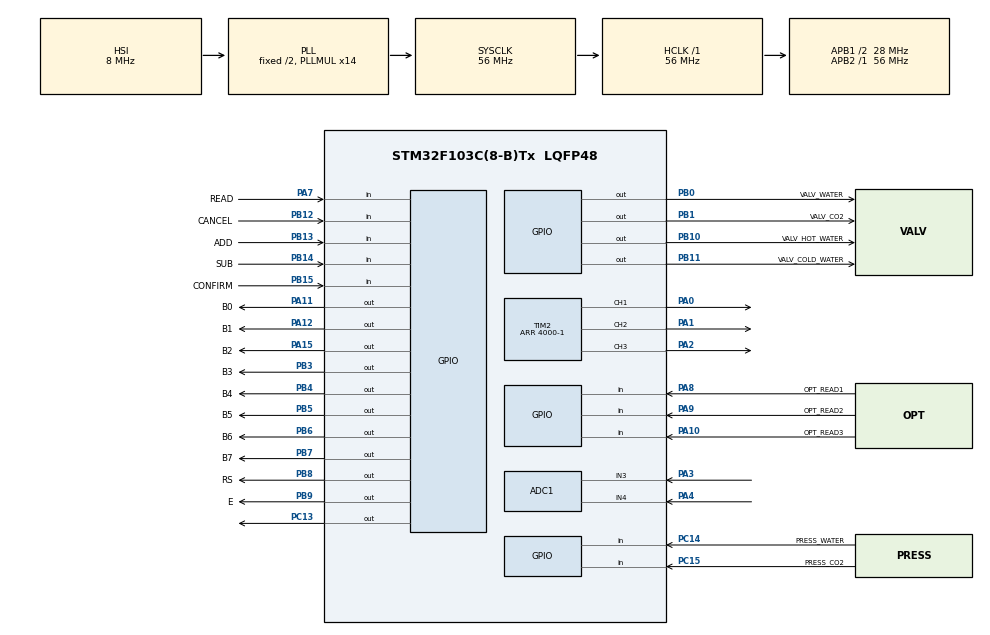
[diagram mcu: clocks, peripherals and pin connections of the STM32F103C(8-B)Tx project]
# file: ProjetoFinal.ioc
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ADC1.Channel-10\#ChannelRegularConversion=ADC_CHANNEL_4
ADC1.Channel-11\#ChannelRegularConversion=ADC_CHANNEL_4
ADC1.Channel-12\#ChannelRegularConversion=ADC_CHANNEL_4
ADC1.Channel-13\#ChannelRegularConversion=ADC_CHANNEL_4
ADC1.Channel-14\#ChannelRegularConversion=ADC_CHANNEL_4
ADC1.Channel-15\#ChannelRegularConversion=ADC_CHANNEL_4
ADC1.Channel-16\#ChannelRegularConversion=ADC_CHANNEL_4
ADC1.Channel-17\#ChannelRegularConversion=ADC_CHANNEL_4
ADC1.Channel-2\#ChannelRegularConversion=ADC_CHANNEL_3
ADC1.Channel-3\#ChannelRegularConversion=ADC_CHANNEL_3
ADC1.Channel-4\#ChannelRegularConversion=ADC_CHANNEL_3
ADC1.Channel-5\#ChannelRegularConversion=ADC_CHANNEL_3
ADC1.Channel-6\#ChannelRegularConversion=ADC_CHANNEL_3
ADC1.Channel-7\#ChannelRegularConversion=ADC_CHANNEL_3
ADC1.Channel-8\#ChannelRegularConversion=ADC_CHANNEL_3
ADC1.Channel-9\#ChannelRegularConversion=ADC_CHANNEL_3
ADC1.NbrOfConversion=16
ADC1.NbrOfConversionFlag=1
ADC1.Rank-10\#ChannelRegularConversion=9
ADC1.Rank-11\#ChannelRegularConversion=10
ADC1.Rank-12\#ChannelRegularConversion=11
ADC1.Rank-13\#ChannelRegularConversion=12
ADC1.Rank-14\#ChannelRegularConversion=13
ADC1.Rank-15\#ChannelRegularConversion=14
ADC1.Rank-16\#ChannelRegularConversion=15
ADC1.Rank-17\#ChannelRegularConversion=16
ADC1.Rank-2\#ChannelRegularConversion=1
ADC1.Rank-3\#ChannelRegularConversion=2
ADC1.Rank-4\#ChannelRegularConversion=3
ADC1.Rank-5\#ChannelRegularConversion=4
ADC1.Rank-6\#ChannelRegularConversion=5
ADC1.Rank-7\#ChannelRegularConversion=6
ADC1.Rank-8\#ChannelRegularConversion=7
ADC1.Rank-9\#ChannelRegularConversion=8
ADC1.SamplingTime-10\#ChannelRegularConversion=ADC_SAMPLETIME_1CYCLE_5
ADC1.SamplingTime-11\#ChannelRegularConversion=ADC_SAMPLETIME_1CYCLE_5
ADC1.SamplingTime-12\#ChannelRegularConversion=ADC_SAMPLETIME_1CYCLE_5
ADC1.SamplingTime-13\#ChannelRegularConversion=ADC_SAMPLETIME_1CYCLE_5
ADC1.SamplingTime-14\#ChannelRegularConversion=ADC_SAMPLETIME_1CYCLE_5
ADC1.SamplingTime-15\#ChannelRegularConversion=ADC_SAMPLETIME_1CYCLE_5
ADC1.SamplingTime-16\#ChannelRegularConversion=ADC_SAMPLETIME_1CYCLE_5
ADC1.SamplingTime-17\#ChannelRegularConversion=ADC_SAMPLETIME_1CYCLE_5
ADC1.SamplingTime-2\#ChannelRegularConversion=ADC_SAMPLETIME_1CYCLE_5
ADC1.SamplingTime-3\#ChannelRegularConversion=ADC_SAMPLETIME_1CYCLE_5
ADC1.SamplingTime-4\#ChannelRegularConversion=ADC_SAMPLETIME_1CYCLE_5
ADC1.SamplingTime-5\#ChannelRegularConversion=ADC_SAMPLETIME_1CYCLE_5
ADC1.SamplingTime-6\#ChannelRegularConversion=ADC_SAMPLETIME_1CYCLE_5
ADC1.SamplingTime-7\#ChannelRegularConversion=ADC_SAMPLETIME_1CYCLE_5
ADC1.SamplingTime-8\#ChannelRegularConversion=ADC_SAMPLETIME_1CYCLE_5
ADC1.SamplingTime-9\#ChannelRegularConversion=ADC_SAMPLETIME_1CYCLE_5
ADC1.master=1
Dma.ADC1.0.Direction=DMA_PERIPH_TO_MEMORY
Dma.ADC1.0.Instance=DMA1_Channel1
Dma.ADC1.0.MemDataAlignment=DMA_MDATAALIGN_WORD
Dma.ADC1.0.MemInc=DMA_MINC_ENABLE
Dma.ADC1.0.Mode=DMA_CIRCULAR
Dma.ADC1.0.PeriphDataAlignment=DMA_PDATAALIGN_WORD
Dma.ADC1.0.PeriphInc=DMA_PINC_DISABLE
Dma.ADC1.0.Priority=DMA_PRIORITY_LOW
Dma.Request0=ADC1
Mcu.Family=STM32F1
Mcu.Name=STM32F103C(8-B)Tx
Mcu.Package=LQFP48
NVIC.DMA1_Channel1_IRQn=true\:0\:0\:false\:false\:true\:false\:true
NVIC.PriorityGroup=NVIC_PRIORITYGROUP_4
NVIC.TIM3_IRQn=true\:0\:0\:false\:false\:true\:true\:true
NVIC.TIM4_IRQn=true\:0\:0\:false\:false\:true\:true\:true
PA0-WKUP.Signal=S_TIM2_CH1_ETR
PA1.Signal=S_TIM2_CH2
PA10.GPIO_Label=OPT_READ3
PA10.Signal=GPIO_Input
PA11.GPIO_Label=B0
PA11.Signal=GPIO_Output
PA12.GPIO_Label=B1
PA12.Signal=GPIO_Output
PA13.Mode=Serial_Wire
PA13.Signal=SYS_JTMS-SWDIO
PA14.Mode=Serial_Wire
PA14.Signal=SYS_JTCK-SWCLK
PA15.GPIO_Label=B2
PA15.Signal=GPIO_Output
PA2.Signal=S_TIM2_CH3
PA3.Signal=ADCx_IN3
PA4.Signal=ADCx_IN4
PA7.GPIO_Label=READ
PA7.Signal=GPIO_Input
PA8.GPIO_Label=OPT_READ1
PA8.Signal=GPIO_Input
PA9.GPIO_Label=OPT_READ2
PA9.Signal=GPIO_Input
PB0.GPIO_Label=VALV_WATER
PB0.Signal=GPIO_Output
PB1.GPIO_Label=VALV_CO2
PB1.Signal=GPIO_Output
PB10.GPIO_Label=VALV_HOT_WATER
PB10.Signal=GPIO_Output
PB11.GPIO_Label=VALV_COLD_WATER
PB11.Signal=GPIO_Output
PB12.GPIO_Label=CANCEL
PB12.Signal=GPIO_Input
PB13.GPIO_Label=ADD
PB13.Signal=GPIO_Input
PB14.GPIO_Label=SUB
PB14.Signal=GPIO_Input
PB15.GPIO_Label=CONFIRM
PB15.Signal=GPIO_Input
PB3.GPIO_Label=B3
PB3.Signal=GPIO_Output
PB4.GPIO_Label=B4
PB4.Signal=GPIO_Output
PB5.GPIO_Label=B5
PB5.Signal=GPIO_Output
PB6.GPIO_Label=B6
PB6.Signal=GPIO_Output
PB7.GPIO_Label=B7
PB7.Signal=GPIO_Output
PB8.GPIO_Label=RS
PB8.Signal=GPIO_Output
PB9.GPIO_Label=E
PB9.Signal=GPIO_Output
PC13-TAMPER-RTC.Signal=GPIO_Output
PC14-OSC32_IN.GPIO_Label=PRESS_WATER
PC14-OSC32_IN.Signal=GPIO_Input
PC15-OSC32_OUT.GPIO_Label=PRESS_CO2
PC15-OSC32_OUT.Signal=GPIO_Input
PD0-OSC_IN.Mode=HSE-External-Oscillator
PD0-OSC_IN.Signal=RCC_OSC_IN
PD1-OSC_OUT.Mode=HSE-External-Oscillator
PD1-OSC_OUT.Signal=RCC_OSC_OUT
ProjectManager.HeapSize=0x200
ProjectManager.StackSize=0x400
ProjectManager.TargetToolchain=STM32CubeIDE
RCC.ADCPresc=RCC_ADCPCLK2_DIV4
RCC.AHBFreq_Value=56000000
RCC.APB1CLKDivider=RCC_HCLK_DIV2
RCC.APB1Freq_Value=28000000
RCC.APB1TimFreq_Value=56000000
RCC.APB2Freq_Value=56000000
RCC.APB2TimFreq_Value=56000000
RCC.HCLKFreq_Value=56000000
RCC.PLLMUL=RCC_PLL_MUL14
RCC.SYSCLKFreq_VALUE=56000000
RCC.SYSCLKSource=RCC_SYSCLKSOURCE_PLLCLK
RCC.USBFreq_Value=56000000
SH.ADCx_IN3.0=ADC1_IN3,IN3
SH.ADCx_IN4.0=ADC1_IN4,IN4
SH.S_TIM2_CH1_ETR.0=TIM2_CH1,PWM Generation1 CH1
SH.S_TIM2_CH2.0=TIM2_CH2,PWM Generation2 CH2
SH.S_TIM2_CH3.0=TIM2_CH3,PWM Generation3 CH3
TIM2.AutoReloadPreload=TIM_AUTORELOAD_PRELOAD_ENABLE
TIM2.Channel-PWM\ Generation1\ CH1=TIM_CHANNEL_1
TIM2.Channel-PWM\ Generation2\ CH2=TIM_CHANNEL_2
TIM2.Channel-PWM\ Generation3\ CH3=TIM_CHANNEL_3
TIM2.Period=4000-1
TIM3.Period=16800-1
TIM3.Prescaler=1000
TIM4.Period=28000-1
TIM4.Prescaler=2000
VP_TIM2_VS_ClockSourceINT.Mode=Internal
VP_TIM3_VS_ClockSourceINT.Mode=Internal
VP_TIM4_VS_ClockSourceINT.Mode=Internal
board=custom

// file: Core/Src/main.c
/* USER CODE BEGIN Header */
/**
  ******************************************************************************
  * @file           : main.c
  * @brief          : Main program body
  ******************************************************************************
  * @attention
  *
  * <h2><center>&copy; Copyright (c) 2020 STMicroelectronics.
  * All rights reserved.</center></h2>
  *
  * This software component is licensed by ST under BSD 3-Clause license,
  * the "License"; You may not use this file except in compliance with the
  * License. You may obtain a copy of the License at:
  *                        opensource.org/licenses/BSD-3-Clause
  *
  ******************************************************************************
  */
/* USER CODE END Header */
#include "main.h"

/* USER CODE BEGIN Includes */
#include "lcd.h"
#include "core.h"
#include "modules.h"
#include <time.h>
/* USER CODE END Includes */

/* USER CODE BEGIN PD */
#define ADC_SCALE (3.3/4095)
#define MAX_DUTY_CYCLE_VALUE 4000
#define DEGREE_CONVERSION 0.005 // 5mV/°C
#define CONVERSION 16
/* USER CODE END PD */

ADC_HandleTypeDef hadc1;
DMA_HandleTypeDef hdma_adc1;

TIM_HandleTypeDef htim2;
TIM_HandleTypeDef htim3;
TIM_HandleTypeDef htim4;

/* USER CODE BEGIN PV */
time_t t;
struct tm tm;
char hora_string [10];
/* USER CODE END PV */

void SystemClock_Config(void);
static void MX_GPIO_Init(void);
static void MX_DMA_Init(void);
static void MX_ADC1_Init(void);
static void MX_TIM2_Init(void);
static void MX_TIM3_Init(void);
static void MX_TIM4_Init(void);

int main(void)
{
  /* USER CODE BEGIN 1 */

  uint8_t read = 0, press_water=1;
  uint8_t opt_reader1, opt_reader2, opt_reader3;
  uint8_t type_of_drink;
  uint8_t confirm, cancel;
  uint8_t press_co2=1;
  /* USER CODE END 1 */

  /* MCU Configuration--------------------------------------------------------*/

  /* Reset of all peripherals, Initializes the Flash interface and the Systick. */
  HAL_Init();

  /* Configure the system clock */
  SystemClock_Config();

  /* Initialize all configured peripherals */
  MX_GPIO_Init();
  MX_DMA_Init();
  MX_ADC1_Init();
  MX_TIM2_Init();
  MX_TIM3_Init();
  MX_TIM4_Init();
  /* USER CODE BEGIN 2 */
	HAL_TIM_PWM_Start(&htim2, TIM_CHANNEL_1 ); // TIM_CHANNEL_1 = PUMP_WATER
	HAL_TIM_PWM_Start(&htim2, TIM_CHANNEL_2 ); // TIM_CHANNEL_2 = HEATER
	HAL_TIM_PWM_Start(&htim2, TIM_CHANNEL_3 ); // TIM_CHANNEL_3 = COOLER
	HAL_TIM_Base_Start_IT(&htim3);
	HAL_TIM_Base_Start_IT(&htim4);
	HAL_ADCEx_Calibration_Start(&hadc1);
	LCD_Init();
	LCD_Clear();
	t = time(NULL);
	tm = *localtime(&t);

  /* USER CODE END 2 */

  /* Infinite loop */
  /* USER CODE BEGIN WHILE */

while(1){
		begin:
		HAL_Delay(100);
		sprintf(hora_string, "%02d:%02d:%02d", tm.tm_hour, tm.tm_min, tm.tm_sec);
		LCD_String_xy(1,4,hora_string);

		read = HAL_GPIO_ReadPin(GPIOA, READ_Pin);
		press_water = HAL_GPIO_ReadPin(GPIOC, PRESS_WATER_Pin);
		if(press_water==0){
			LCD_Clear();
			LCD_String_xy(1,3,"Sem água no");
			LCD_String_xy(2,3,"reservatório");
			while(1){
				HAL_Delay(4000);
				press_water = HAL_GPIO_ReadPin(GPIOC, PRESS_WATER_Pin);
				if(press_water) {
					LCD_Clear();
					break;
				}
			}
		}
		else if(read){ // Se for colocado uma cápsula
			read = 0;
			opt_reader1 = HAL_GPIO_ReadPin(GPIOA, OPT_READ1_Pin); // Lê os códigos
			opt_reader2 = HAL_GPIO_ReadPin(GPIOA, OPT_READ2_Pin);
			opt_reader3 = HAL_GPIO_ReadPin(GPIOA, OPT_READ3_Pin);
			type_of_drink = read_type_of_capsule(opt_reader1, opt_reader2, opt_reader3); //Retorna tipo e mostra na tela
			if(type_of_drink==0){
				HAL_Delay(3000); // Espera 3 segundos com a tela de erro
				LCD_Clear();
			}
			else{ // Se for um tipo válido...
				if(type_of_drink==5 || type_of_drink==2){
					press_co2 = HAL_GPIO_ReadPin(GPIOC, PRESS_CO2_Pin);
					if(press_co2==0){
						LCD_Clear();
						LCD_String_xy(1,3,"Sem CO2 no");
						LCD_String_xy(2,3,"reservatório");
						while(1){
							HAL_Delay(4000);
							press_co2 = HAL_GPIO_ReadPin(GPIOC, PRESS_CO2_Pin);
							if(press_co2) {
								LCD_Clear();
								break;
							}
						}
						goto begin;
					}
				}
				confirm = 0;
				while(1){
					confirm = HAL_GPIO_ReadPin(GPIOB, CONFIRM_Pin); // Espera confirmação ou cancelamento
					cancel = HAL_GPIO_ReadPin(GPIOB, CANCEL_Pin);
					if(confirm==1){
						preparing(type_of_drink, &hadc1);
						break;
					}
					else if(cancel==1)	break;
				}
				LCD_Clear();
			}
		}
	}

    /* USER CODE END WHILE */

}

void SystemClock_Config(void)
{
  RCC_OscInitTypeDef RCC_OscInitStruct = {0};
  RCC_ClkInitTypeDef RCC_ClkInitStruct = {0};
  RCC_PeriphCLKInitTypeDef PeriphClkInit = {0};

  /** Initializes the RCC Oscillators according to the specified parameters
  * in the RCC_OscInitTypeDef structure.
  */
  RCC_OscInitStruct.OscillatorType = RCC_OSCILLATORTYPE_HSI;
  RCC_OscInitStruct.HSIState = RCC_HSI_ON;
  RCC_OscInitStruct.HSICalibrationValue = RCC_HSICALIBRATION_DEFAULT;
  RCC_OscInitStruct.PLL.PLLState = RCC_PLL_ON;
  RCC_OscInitStruct.PLL.PLLSource = RCC_PLLSOURCE_HSI_DIV2;
  RCC_OscInitStruct.PLL.PLLMUL = RCC_PLL_MUL14;
  if (HAL_RCC_OscConfig(&RCC_OscInitStruct) != HAL_OK)
  {
    Error_Handler();
  }
  /** Initializes the CPU, AHB and APB buses clocks
  */
  RCC_ClkInitStruct.ClockType = RCC_CLOCKTYPE_HCLK|RCC_CLOCKTYPE_SYSCLK
                              |RCC_CLOCKTYPE_PCLK1|RCC_CLOCKTYPE_PCLK2;
  RCC_ClkInitStruct.SYSCLKSource = RCC_SYSCLKSOURCE_PLLCLK;
  RCC_ClkInitStruct.AHBCLKDivider = RCC_SYSCLK_DIV1;
  RCC_ClkInitStruct.APB1CLKDivider = RCC_HCLK_DIV2;
  RCC_ClkInitStruct.APB2CLKDivider = RCC_HCLK_DIV1;

  if (HAL_RCC_ClockConfig(&RCC_ClkInitStruct, FLASH_LATENCY_2) != HAL_OK)
  {
    Error_Handler();
  }
  PeriphClkInit.PeriphClockSelection = RCC_PERIPHCLK_ADC;
  PeriphClkInit.AdcClockSelection = RCC_ADCPCLK2_DIV4;
  if (HAL_RCCEx_PeriphCLKConfig(&PeriphClkInit) != HAL_OK)
  {
    Error_Handler();
  }
}

static void MX_ADC1_Init(void)
{

  ADC_ChannelConfTypeDef sConfig = {0};

  /** Common config
  */
  hadc1.Instance = ADC1;
  hadc1.Init.ScanConvMode = ADC_SCAN_ENABLE;
  hadc1.Init.ContinuousConvMode = DISABLE;
  hadc1.Init.DiscontinuousConvMode = DISABLE;
  hadc1.Init.ExternalTrigConv = ADC_SOFTWARE_START;
  hadc1.Init.DataAlign = ADC_DATAALIGN_RIGHT;
  hadc1.Init.NbrOfConversion = 16;
  if (HAL_ADC_Init(&hadc1) != HAL_OK)
  {
    Error_Handler();
  }
  /** Configure Regular Channel
  */
  sConfig.Channel = ADC_CHANNEL_3;
  sConfig.Rank = ADC_REGULAR_RANK_1;
  sConfig.SamplingTime = ADC_SAMPLETIME_1CYCLE_5;
  if (HAL_ADC_ConfigChannel(&hadc1, &sConfig) != HAL_OK)
  {
    Error_Handler();
  }
  /** Configure Regular Channel
  */
  sConfig.Rank = ADC_REGULAR_RANK_2;
  if (HAL_ADC_ConfigChannel(&hadc1, &sConfig) != HAL_OK)
  {
    Error_Handler();
  }
  /** Configure Regular Channel
  */
  sConfig.Rank = ADC_REGULAR_RANK_3;
  if (HAL_ADC_ConfigChannel(&hadc1, &sConfig) != HAL_OK)
  {
    Error_Handler();
  }
  /** Configure Regular Channel
  */
  sConfig.Rank = ADC_REGULAR_RANK_4;
  if (HAL_ADC_ConfigChannel(&hadc1, &sConfig) != HAL_OK)
  {
    Error_Handler();
  }
  /** Configure Regular Channel
  */
  sConfig.Rank = ADC_REGULAR_RANK_5;
  if (HAL_ADC_ConfigChannel(&hadc1, &sConfig) != HAL_OK)
  {
    Error_Handler();
  }
  /** Configure Regular Channel
  */
  sConfig.Rank = ADC_REGULAR_RANK_6;
  if (HAL_ADC_ConfigChannel(&hadc1, &sConfig) != HAL_OK)
  {
    Error_Handler();
  }
  /** Configure Regular Channel
  */
  sConfig.Rank = ADC_REGULAR_RANK_7;
  if (HAL_ADC_ConfigChannel(&hadc1, &sConfig) != HAL_OK)
  {
    Error_Handler();
  }
  /** Configure Regular Channel
  */
  sConfig.Rank = ADC_REGULAR_RANK_8;
  if (HAL_ADC_ConfigChannel(&hadc1, &sConfig) != HAL_OK)
  {
    Error_Handler();
  }
  /** Configure Regular Channel
  */
  sConfig.Channel = ADC_CHANNEL_4;
  sConfig.Rank = ADC_REGULAR_RANK_9;
  if (HAL_ADC_ConfigChannel(&hadc1, &sConfig) != HAL_OK)
  {
    Error_Handler();
  }
  /** Configure Regular Channel
  */
  sConfig.Rank = ADC_REGULAR_RANK_10;
  if (HAL_ADC_ConfigChannel(&hadc1, &sConfig) != HAL_OK)
  {
    Error_Handler();
  }
  /** Configure Regular Channel
  */
  sConfig.Rank = ADC_REGULAR_RANK_11;
  if (HAL_ADC_ConfigChannel(&hadc1, &sConfig) != HAL_OK)
  {
    Error_Handler();
  }
  /** Configure Regular Channel
  */
  sConfig.Rank = ADC_REGULAR_RANK_12;
  if (HAL_ADC_ConfigChannel(&hadc1, &sConfig) != HAL_OK)
  {
    Error_Handler();
  }
  /** Configure Regular Channel
  */
  sConfig.Rank = ADC_REGULAR_RANK_13;
  if (HAL_ADC_ConfigChannel(&hadc1, &sConfig) != HAL_OK)
  {
    Error_Handler();
  }
  /** Configure Regular Channel
  */
  sConfig.Rank = ADC_REGULAR_RANK_14;
  if (HAL_ADC_ConfigChannel(&hadc1, &sConfig) != HAL_OK)
  {
    Error_Handler();
  }
  /** Configure Regular Channel
  */
  sConfig.Rank = ADC_REGULAR_RANK_15;
  if (HAL_ADC_ConfigChannel(&hadc1, &sConfig) != HAL_OK)
  {
    Error_Handler();
  }
  /** Configure Regular Channel
  */
  sConfig.Rank = ADC_REGULAR_RANK_16;
  if (HAL_ADC_ConfigChannel(&hadc1, &sConfig) != HAL_OK)
  {
    Error_Handler();
  }

}

static void MX_TIM2_Init(void)
{

  TIM_ClockConfigTypeDef sClockSourceConfig = {0};
  TIM_MasterConfigTypeDef sMasterConfig = {0};
  TIM_OC_InitTypeDef sConfigOC = {0};

  htim2.Instance = TIM2;
  htim2.Init.Prescaler = 0;
  htim2.Init.CounterMode = TIM_COUNTERMODE_UP;
  htim2.Init.Period = 4000-1;
  htim2.Init.ClockDivision = TIM_CLOCKDIVISION_DIV1;
  htim2.Init.AutoReloadPreload = TIM_AUTORELOAD_PRELOAD_ENABLE;
  if (HAL_TIM_Base_Init(&htim2) != HAL_OK)
  {
    Error_Handler();
  }
  sClockSourceConfig.ClockSource = TIM_CLOCKSOURCE_INTERNAL;
  if (HAL_TIM_ConfigClockSource(&htim2, &sClockSourceConfig) != HAL_OK)
  {
    Error_Handler();
  }
  if (HAL_TIM_PWM_Init(&htim2) != HAL_OK)
  {
    Error_Handler();
  }
  sMasterConfig.MasterOutputTrigger = TIM_TRGO_RESET;
  sMasterConfig.MasterSlaveMode = TIM_MASTERSLAVEMODE_DISABLE;
  if (HAL_TIMEx_MasterConfigSynchronization(&htim2, &sMasterConfig) != HAL_OK)
  {
    Error_Handler();
  }
  sConfigOC.OCMode = TIM_OCMODE_PWM1;
  sConfigOC.Pulse = 0;
  sConfigOC.OCPolarity = TIM_OCPOLARITY_HIGH;
  sConfigOC.OCFastMode = TIM_OCFAST_DISABLE;
  if (HAL_TIM_PWM_ConfigChannel(&htim2, &sConfigOC, TIM_CHANNEL_1) != HAL_OK)
  {
    Error_Handler();
  }
  if (HAL_TIM_PWM_ConfigChannel(&htim2, &sConfigOC, TIM_CHANNEL_2) != HAL_OK)
  {
    Error_Handler();
  }
  if (HAL_TIM_PWM_ConfigChannel(&htim2, &sConfigOC, TIM_CHANNEL_3) != HAL_OK)
  {
    Error_Handler();
  }
  HAL_TIM_MspPostInit(&htim2);

}

static void MX_TIM3_Init(void)
{

  TIM_ClockConfigTypeDef sClockSourceConfig = {0};
  TIM_MasterConfigTypeDef sMasterConfig = {0};

  htim3.Instance = TIM3;
  htim3.Init.Prescaler = 1000;
  htim3.Init.CounterMode = TIM_COUNTERMODE_UP;
  htim3.Init.Period = 16800-1;
  htim3.Init.ClockDivision = TIM_CLOCKDIVISION_DIV1;
  htim3.Init.AutoReloadPreload = TIM_AUTORELOAD_PRELOAD_DISABLE;
  if (HAL_TIM_Base_Init(&htim3) != HAL_OK)
  {
    Error_Handler();
  }
  sClockSourceConfig.ClockSource = TIM_CLOCKSOURCE_INTERNAL;
  if (HAL_TIM_ConfigClockSource(&htim3, &sClockSourceConfig) != HAL_OK)
  {
    Error_Handler();
  }
  sMasterConfig.MasterOutputTrigger = TIM_TRGO_RESET;
  sMasterConfig.MasterSlaveMode = TIM_MASTERSLAVEMODE_DISABLE;
  if (HAL_TIMEx_MasterConfigSynchronization(&htim3, &sMasterConfig) != HAL_OK)
  {
    Error_Handler();
  }

}

static void MX_TIM4_Init(void)
{

  TIM_ClockConfigTypeDef sClockSourceConfig = {0};
  TIM_MasterConfigTypeDef sMasterConfig = {0};

  htim4.Instance = TIM4;
  htim4.Init.Prescaler = 2000;
  htim4.Init.CounterMode = TIM_COUNTERMODE_UP;
  htim4.Init.Period = 28000-1;
  htim4.Init.ClockDivision = TIM_CLOCKDIVISION_DIV1;
  htim4.Init.AutoReloadPreload = TIM_AUTORELOAD_PRELOAD_DISABLE;
  if (HAL_TIM_Base_Init(&htim4) != HAL_OK)
  {
    Error_Handler();
  }
  sClockSourceConfig.ClockSource = TIM_CLOCKSOURCE_INTERNAL;
  if (HAL_TIM_ConfigClockSource(&htim4, &sClockSourceConfig) != HAL_OK)
  {
    Error_Handler();
  }
  sMasterConfig.MasterOutputTrigger = TIM_TRGO_RESET;
  sMasterConfig.MasterSlaveMode = TIM_MASTERSLAVEMODE_DISABLE;
  if (HAL_TIMEx_MasterConfigSynchronization(&htim4, &sMasterConfig) != HAL_OK)
  {
    Error_Handler();
  }

}

static void MX_DMA_Init(void)
{

  /* DMA controller clock enable */
  __HAL_RCC_DMA1_CLK_ENABLE();

  /* DMA interrupt init */
  /* DMA1_Channel1_IRQn interrupt configuration */
  HAL_NVIC_SetPriority(DMA1_Channel1_IRQn, 0, 0);
  HAL_NVIC_EnableIRQ(DMA1_Channel1_IRQn);

}

static void MX_GPIO_Init(void)
{
  GPIO_InitTypeDef GPIO_InitStruct = {0};

  /* GPIO Ports Clock Enable */
  __HAL_RCC_GPIOC_CLK_ENABLE();
  __HAL_RCC_GPIOD_CLK_ENABLE();
  __HAL_RCC_GPIOA_CLK_ENABLE();
  __HAL_RCC_GPIOB_CLK_ENABLE();

  /*Configure GPIO pin Output Level */
  HAL_GPIO_WritePin(GPIOC, GPIO_PIN_13, GPIO_PIN_RESET);

  /*Configure GPIO pin Output Level */
  HAL_GPIO_WritePin(GPIOB, VALV_WATER_Pin|VALV_CO2_Pin|VALV_HOT_WATER_Pin|VALV_COLD_WATER_Pin
                          |B3_Pin|B4_Pin|B5_Pin|B6_Pin
                          |B7_Pin|RS_Pin|E_Pin, GPIO_PIN_RESET);

  /*Configure GPIO pin Output Level */
  HAL_GPIO_WritePin(GPIOA, B0_Pin|B1_Pin|B2_Pin, GPIO_PIN_RESET);

  /*Configure GPIO pin : PC13 */
  GPIO_InitStruct.Pin = GPIO_PIN_13;
  GPIO_InitStruct.Mode = GPIO_MODE_OUTPUT_PP;
  GPIO_InitStruct.Pull = GPIO_NOPULL;
  GPIO_InitStruct.Speed = GPIO_SPEED_FREQ_LOW;
  HAL_GPIO_Init(GPIOC, &GPIO_InitStruct);

  /*Configure GPIO pins : PRESS_WATER_Pin PRESS_CO2_Pin */
  GPIO_InitStruct.Pin = PRESS_WATER_Pin|PRESS_CO2_Pin;
  GPIO_InitStruct.Mode = GPIO_MODE_INPUT;
  GPIO_InitStruct.Pull = GPIO_NOPULL;
  HAL_GPIO_Init(GPIOC, &GPIO_InitStruct);

  /*Configure GPIO pins : READ_Pin OPT_READ1_Pin OPT_READ2_Pin OPT_READ3_Pin */
  GPIO_InitStruct.Pin = READ_Pin|OPT_READ1_Pin|OPT_READ2_Pin|OPT_READ3_Pin;
  GPIO_InitStruct.Mode = GPIO_MODE_INPUT;
  GPIO_InitStruct.Pull = GPIO_NOPULL;
  HAL_GPIO_Init(GPIOA, &GPIO_InitStruct);

  /*Configure GPIO pins : VALV_WATER_Pin VALV_CO2_Pin VALV_HOT_WATER_Pin VALV_COLD_WATER_Pin
                           B3_Pin B4_Pin B5_Pin B6_Pin
                           B7_Pin RS_Pin E_Pin */
  GPIO_InitStruct.Pin = VALV_WATER_Pin|VALV_CO2_Pin|VALV_HOT_WATER_Pin|VALV_COLD_WATER_Pin
                          |B3_Pin|B4_Pin|B5_Pin|B6_Pin
                          |B7_Pin|RS_Pin|E_Pin;
  GPIO_InitStruct.Mode = GPIO_MODE_OUTPUT_PP;
  GPIO_InitStruct.Pull = GPIO_NOPULL;
  GPIO_InitStruct.Speed = GPIO_SPEED_FREQ_LOW;
  HAL_GPIO_Init(GPIOB, &GPIO_InitStruct);

  /*Configure GPIO pins : CANCEL_Pin ADD_Pin SUB_Pin CONFIRM_Pin */
  GPIO_InitStruct.Pin = CANCEL_Pin|ADD_Pin|SUB_Pin|CONFIRM_Pin;
  GPIO_InitStruct.Mode = GPIO_MODE_INPUT;
  GPIO_InitStruct.Pull = GPIO_NOPULL;
  HAL_GPIO_Init(GPIOB, &GPIO_InitStruct);

  /*Configure GPIO pins : B0_Pin B1_Pin B2_Pin */
  GPIO_InitStruct.Pin = B0_Pin|B1_Pin|B2_Pin;
  GPIO_InitStruct.Mode = GPIO_MODE_OUTPUT_PP;
  GPIO_InitStruct.Pull = GPIO_NOPULL;
  GPIO_InitStruct.Speed = GPIO_SPEED_FREQ_LOW;
  HAL_GPIO_Init(GPIOA, &GPIO_InitStruct);

}

/* USER CODE BEGIN 4 */

void HAL_TIM_PeriodElapsedCallback(TIM_HandleTypeDef* htim){
	if(htim == &htim3) HAL_GPIO_TogglePin(GPIOC, GPIO_PIN_13);
	if(htim == &htim4){
		tm.tm_sec++;
		if(tm.tm_sec>=60){
			tm.tm_sec=0;
			tm.tm_min+=1;
		}
		if(tm.tm_min>=60){
			tm.tm_min=0;
			tm.tm_hour+=1;
		}
		if(tm.tm_hour>=24){
			tm.tm_hour=0;
		}
	}
}

/* USER CODE END 4 */

void Error_Handler(void)
{
}

/************************ (C) COPYRIGHT STMicroelectronics *****END OF FILE****/
